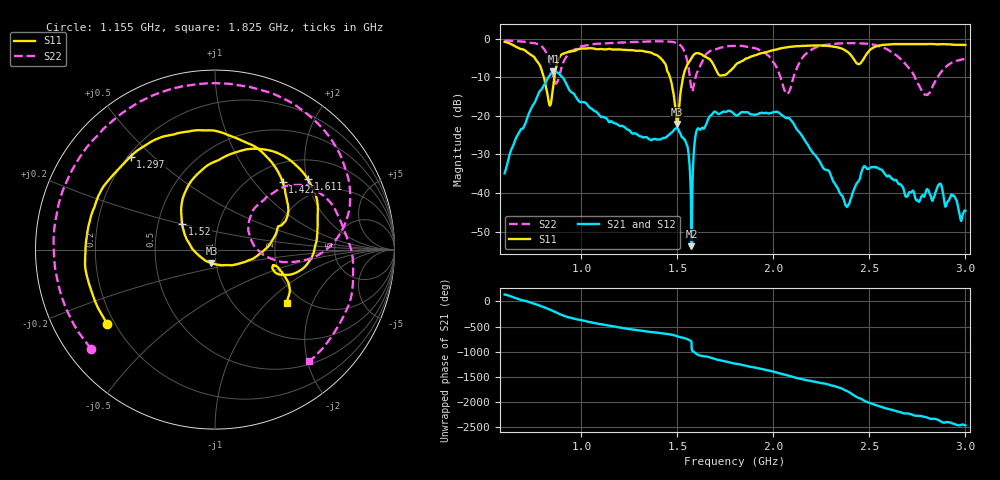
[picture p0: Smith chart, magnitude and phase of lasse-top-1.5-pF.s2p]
#  HZ  S  RI  R  50.00
! Rohde & Schwarz ZVB8 2Ports - Version 2.81 - 1145.1010k08 SN: 100113
! Date: 2016-03-31 03:49:23
! Measurements: S11 S21 S12 S22
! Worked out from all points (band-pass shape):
!   1000 points, 600 MHz to 3 GHz, reference 50 ohm
!   highest |S21| = -8.38 dB at 854.7 MHz (marker M1); lowest = -53.8 dB at 1.573 GHz (marker M2)
!   |S21| within 3 dB of the highest: 813.5 MHz to 918.9 MHz (105.4 MHz wide, 12.2 % of centre)
!   lowest |S11| = -22.1 dB at 1.498 GHz (marker M3), VSWR 1.17, Z = 47.5 - j7.25 ohm
!   |S11| at or under -10 dB: 805 MHz to 859.1 MHz (54.1 MHz wide, 6.5 % of centre); 1.462 GHz to 1.53 GHz (68.11 MHz wide, 4.55 % of centre)
!   |S22| runs from -14.6 to -0.4 dB; largest |S21 - S12| = 0.0021
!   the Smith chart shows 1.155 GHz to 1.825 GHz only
!   S11 on the Smith chart (normalised r, x): 1.155 GHz: 0.17, -0.30; 1.297 GHz: 0.21, +0.43; 1.422 GHz: 1.36, +1.42; 1.52 GHz: 0.66, +0.20; 1.611 GHz: 1.49, +2.03; 1.825 GHz: 1.68, -1.33
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6e8  0.0889 0.9096  -0.0132 0.0122  -0.0132 0.0122  -0.0966 0.9476
7.60961e8  0.545 0.00314  0.0935 -0.1266  0.0927 -0.1256  0.8478 0.2108
8.546547e8  0.1634 0.1988  -0.3651 0.1088  -0.3652 0.1087  0.2656 -0.175
9.099099e8  0.6471 0.0211  0.0915 0.2819  0.0907 0.282  0.5203 -0.00634
1.001201e9  0.4301 -0.6128  0.1487 -0.0304  0.1485 -0.0299  0.4567 -0.6598
1.154955e9  -0.6004 -0.4135  -0.0517 -0.0678  -0.0513 -0.0676  -0.6907 -0.5514
1.296697e9  -0.47 0.5185  -0.0453 0.0328  -0.0452 0.0327  -0.7495 0.5206
1.4e9  0.2751 0.5304  -0.00453 0.0492  -0.00472 0.0491  -0.0566 0.9255
1.421622e9  0.3774 0.3748  0.00336 0.051  0.00338 0.0508  0.1285 0.9159
1.498498e9  -0.0199 -0.0758  0.0601 0.0329  0.06 0.033  0.6952 0.5331
1.52012e9  -0.1844 0.1443  0.0555 0.00354  0.0554 0.00361  0.753 0.2798
1.572973e9  0.1276 0.5458  0.000395 -0.002  0.000307 -0.00204  0.22 0.0179
1.611411e9  0.5175 0.3929  0.0673 0.0133  0.0672 0.0134  0.2847 0.2904
1.801201e9  0.4105 -0.1886  -0.095 -0.0393  -0.095 -0.0393  0.6404 -0.4972
1.825225e9  0.4005 -0.2976  -0.1063 -0.0177  -0.1061 -0.0177  0.5246 -0.6221
1.983784e9  -0.3745 -0.589  0.0543 0.0938  0.0551 0.093  -0.3675 -0.4314
2.072673e9  -0.778 -0.0462  0.0821 -0.0451  0.082 -0.045  -0.1112 -0.1575
2.2e9  -0.3162 0.7543  -0.0286 -0.0193  -0.0285 -0.0193  -0.6528 -0.322
2.406607e9  0.5838 0.145  0.00723 -0.00499  0.00724 -0.00493  -0.1106 0.8715
2.601201e9  0.6965 -0.4818  0.0156 0.00639  0.0156 0.0064  0.7064 0.0625
2.778979e9  -0.2938 -0.7994  -0.00595 -0.00719  -0.00594 -0.00727  0.1656 -0.104
3e9  -0.7157 0.4255  0.00342 0.0048  0.00342 0.00483  0.295 -0.4519
